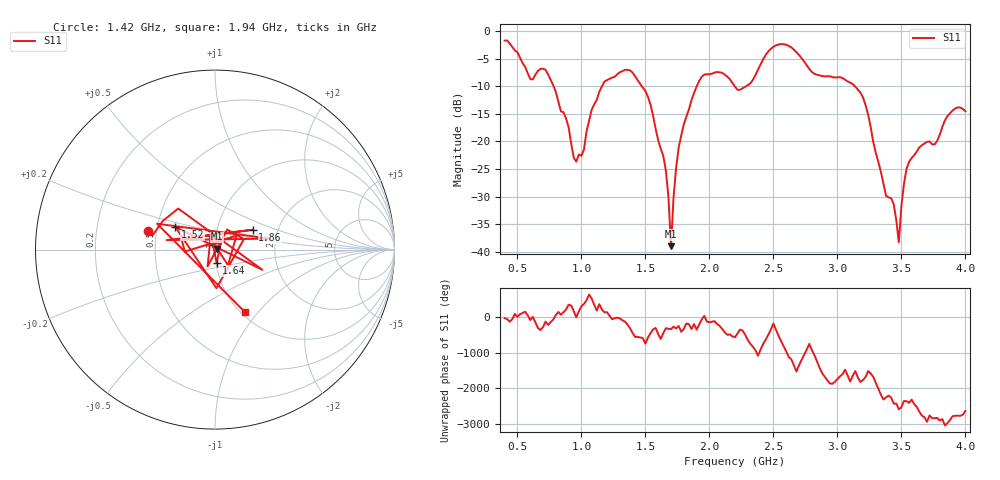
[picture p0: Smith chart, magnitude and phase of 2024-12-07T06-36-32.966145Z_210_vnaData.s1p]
!Created with skrf (http://scikit-rf.org).
# Hz S RI R 50.0
!freq ReS11 ImS11
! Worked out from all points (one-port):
!   181 points, 400 MHz to 4 GHz, reference 50 ohm
!   lowest |S11| = -39.0 dB at 1.7 GHz (marker M1), VSWR 1.02, Z = 51 + j0.509 ohm
!   |S11| at or under -10 dB: 783.1 MHz to 1.16 GHz (377.2 MHz wide, 38.8 % of centre); 1.472 GHz to 1.901 GHz (428.5 MHz wide, 25.4 % of centre); 3.137 GHz to end of sweep (the widest 3 of 4)
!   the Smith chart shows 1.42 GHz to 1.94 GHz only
!   S11 on the Smith chart (normalised r, x): 1.42 GHz: 0.45, +0.11; 1.52 GHz: 0.62, +0.17; 1.64 GHz: 1.01, -0.15; 1.86 GHz: 1.48, +0.35; 1.94 GHz: 1.04, -0.85
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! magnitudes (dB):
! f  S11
! 400 MHz  -1.7
! 600 MHz  -8.7
! 720 MHz  -7.0
! 860 MHz  -14.7
! 960 MHz  -23.7
! 1.16 GHz  -10.0
! 1.3 GHz  -7.5
! 1.42 GHz  -8.2
! 1.52 GHz  -11.9
! 1.64 GHz  -22.6
! 1.68 GHz  -30.0
! 1.7 GHz  -39.0
! 1.72 GHz  -30.1
! 1.76 GHz  -21.1
! 1.86 GHz  -12.5
! 1.94 GHz  -8.3
! 2.2 GHz  -10.1
! 2.32 GHz  -9.5
! 2.5 GHz  -2.8
! 2.66 GHz  -3.3
! 3.1 GHz  -9.3
! 3.22 GHz  -13.4
! 3.38 GHz  -29.8
! 3.44 GHz  -31.4
! 3.48 GHz  -38.3
! 3.52 GHz  -27.7
! 3.56 GHz  -23.7
! 4 GHz  -14.5
